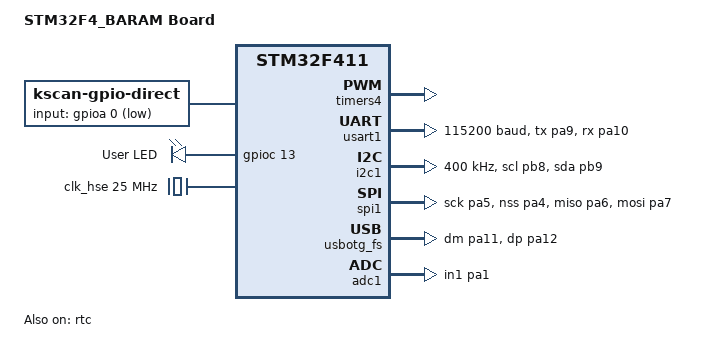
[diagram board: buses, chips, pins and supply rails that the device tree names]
/*
 * Copyright (c) 2017 Linaro Limited
 *
 * SPDX-License-Identifier: Apache-2.0
 */

/dts-v1/;
#include <st/f4/stm32f411Xe.dtsi>
#include <st/f4/stm32f411c(c-e)ux-pinctrl.dtsi>
#include <dt-bindings/zmk/matrix_transform.h>

/ {
	model = "STM32F4_BARAM Board";
	compatible = "st,smt32f4_baram", "st,stm32f411";

	chosen {
		zephyr,code-partition = &code_partition;
		//zephyr,console = &cdc_acm_uart;
		zephyr,sram = &sram0;
		zephyr,flash = &flash0;

		zmk,kscan = &kscan;
	};


  kscan: kscan {
		compatible = "zmk,kscan-gpio-direct";
		label = "KSCAN";

		input-gpios
			= <&gpioa 0 (GPIO_ACTIVE_LOW | GPIO_PULL_UP)>
			;
	};

	leds {
		compatible = "gpio-leds";
		blue_led_0: led_0 {
			gpios = <&gpioc 13 GPIO_ACTIVE_HIGH>;	//C13
			label = "User LED";
		};
	};

	aliases {
		led0 = &blue_led_0;
	};
};


&flash0 {

	partitions {
		compatible = "fixed-partitions";
		#address-cells = <1>;
		#size-cells = <1>;

		code_partition: partition@0 {
			label = "firmware";
			reg = <0x00000000 0x00020000>;
			read-only;
		};

    storage_partition: partition@20000 {
			label = "storage";
			reg = <0x00020000 0x00008000>;
		};
	};
};

&timers4 {
	status = "okay";

	pwm4: pwm {
		status = "okay";
		pinctrl-0 = <&tim4_ch1_pb6 &tim4_ch2_pb7>;
		pinctrl-names = "default";
	};
};

&usart1 {
	pinctrl-0 = <&usart1_tx_pa9 &usart1_rx_pa10>;
	pinctrl-names = "default";
	status = "okay";
	current-speed = <115200>;
};

&i2c1 {
	pinctrl-0 = <&i2c1_scl_pb8 &i2c1_sda_pb9>;
	pinctrl-names = "default";
	status = "okay";
	clock-frequency = <I2C_BITRATE_FAST>;
};

&spi1 {
	pinctrl-0 = <&spi1_sck_pa5 &spi1_nss_pa4
		     &spi1_miso_pa6 &spi1_mosi_pa7>;
	pinctrl-names = "default";
	status = "okay";
};

&rtc {
	status = "okay";
};

zephyr_udc0: &usbotg_fs {
	pinctrl-0 = <&usb_otg_fs_dm_pa11 &usb_otg_fs_dp_pa12>;
	pinctrl-names = "default";
	status = "okay";
	cdc_acm_uart: cdc_acm_uart {
		compatible = "zephyr,cdc-acm-uart";
		label = "CDC_ACM_0";
	};  
};

&adc1 {
	pinctrl-0 = <&adc1_in1_pa1>;
	pinctrl-names = "default";
	status = "okay";
};

&clk_hse {
	clock-frequency = <DT_FREQ_M(25)>;
	status = "okay";
};

&pll {
	div-m = <25>;
	mul-n = <192>;
	div-p = <2>;
	div-q = <4>;
	clocks = <&clk_hse>;
	status = "okay";
};

&rcc {
	clocks = <&pll>;
	clock-frequency = <DT_FREQ_M(96)>;
	ahb-prescaler = <1>;
	apb1-prescaler = <2>;
	apb2-prescaler = <1>;
};

